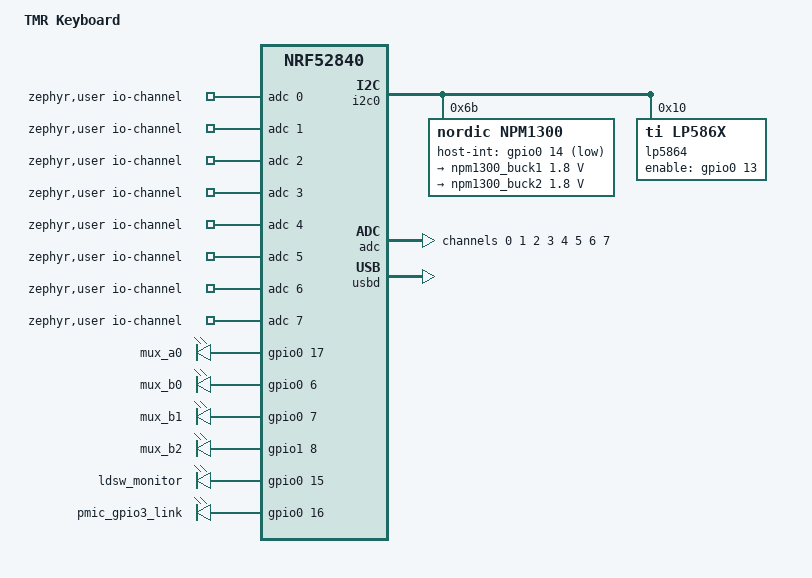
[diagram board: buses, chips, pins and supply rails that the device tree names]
/dts-v1/;

#include <nordic/nrf52840_qiaa.dtsi>
#include <nordic/nrf52840_partition.dtsi>
#include "tmr_kbd_nrf52840-pinctrl.dtsi"
#include <dt-bindings/regulator/npm13xx.h>
/* Include keycode definitions */
#include <zephyr/dt-bindings/input/input-event-codes.h>

/ {
	model = "TMR Keyboard";
	compatible = "gp,tmr-kbd-nrf52840";

	chosen {
		/* Redirect console to Seggar RTT to save pins */
		zephyr,console = &snippet_rtt;
		zephyr,shell-uart = &snippet_rtt;
		zephyr,uart-mcumgr = &snippet_rtt;
	};

	/* Virtual RTT console node */
	snippet_rtt: snippet_rtt {
		compatible = "segger,rtt-uart";
	};
};

/ {
	/* Expose ADC inputs to application */
	zephyr,user {
		io-channels =
			<&adc 0>, /* ADC device, channel 0 */
			<&adc 1>,
			<&adc 2>,
			<&adc 3>,
			<&adc 4>,
			<&adc 5>,
			<&adc 6>,
			<&adc 7>;
	};

	/* This allows ADC to be referred as: DT_ALIAS(adc0), instead of knowing the full path */
	aliases {
		adc0 = &adc;
	};

	/* Define MUX control pins as a new group */
	mux_control {
		compatible = "gpio-leds"; /* generic gpio driver */
		mux_a0: mux_a0 {
			gpios = <&gpio0 17 GPIO_ACTIVE_HIGH>;
		};
		mux_b0: mux_b0 {
			gpios = <&gpio0 6 GPIO_ACTIVE_HIGH>;
		};
		mux_b1: mux_b1 {
			gpios = <&gpio0 7 GPIO_ACTIVE_HIGH>;
		};
		mux_b2: mux_b2 {
			gpios = <&gpio1 8 GPIO_ACTIVE_HIGH>;
		};
	};
};

/* Define the physical GPIO connection for the MUX-style signal if needed */
/ {
	npm_pins {
		compatible = "gpio-leds";
		/* P0.15 is physically wired to the output of LDSW1/GPIO2 */
		ldsw_monitor: ldsw_monitor {
			gpios = <&gpio0 15 GPIO_ACTIVE_HIGH>;
		};
		/* P0.16 is connected to GPIO3 of nPM1300 */
		pmic_gpio3_link: pmic_gpio3_link {
			gpios = <&gpio0 16 GPIO_ACTIVE_HIGH>;
		};
	};
};

/* Configure the I2C0 Bus and Peripherals */
&i2c0 {
	status = "okay";
	pinctrl-0 = <&i2c0_default>;
	pinctrl-1 = <&i2c0_sleep>;
	pinctrl-names = "default", "sleep";
	/* clock-frequency = <I2C_BITRATE_FAST>; */

	/* npm1300: pmic@48 { */
	npm1300: pmic@6b {
		compatible = "nordic,npm1300";
		reg = <0x6b>;
		/* INT (GPIO1) of nPM1300 connected to P0.14 */
		host-int-gpios = <&gpio0 14 GPIO_ACTIVE_LOW>;
		/* host-int-gpios = <&gpio0 14 GPIO_ACTIVE_HIGH>; */
		pmic-int-pin = <1>;

		npm1300_gpio: gpio-controller {
			compatible = "nordic,npm1300-gpio";
			gpio-controller;
			#gpio-cells = <2>;
			ngpios = <5>;
		};

		npm1300_regulators: regulators {
			compatible = "nordic,npm1300-regulator";

			/* Main MCU Power - Stays on, 1.8v*/
			npm1300_buck1: BUCK1 {
				regulator-min-microvolt = <1800000>;
				regulator-max-microvolt = <1800000>;
				regulator-boot-on;
				regulator-always-on;
			};

			/* TMR Sensor Power Source, 1.8v */
			npm1300_buck2: BUCK2 {
				regulator-min-microvolt = <1800000>;
				regulator-max-microvolt = <1800000>;
				regulator-always-on;
				regulator-boot-on;
			};

			/* The Load Switch (LDO1) controlled by GPIO2 */
			npm1300_ldsw1: LDO1 {
				regulator-initial-mode = <NPM13XX_LDSW_MODE_LDSW>;
				regulator-allowed-modes = <NPM13XX_LDSW_MODE_LDSW>;
				/* Link to GPIO2 internally */
				enable-gpio-config = <2 GPIO_ACTIVE_HIGH>;
				regulator-boot-off;
			};

			npm1300_ldsw2: LDO2 {
				status = "disabled";
			};
		};

		npm1300_charger: charger {
			compatible = "nordic,npm1300-charger";
			term-microvolt = <4150000>;     /* 4.15V max charge */
			term-warm-microvolt = <4000000>;
			current-microamp = <150000>;    /* 150mA default */
			dischg-limit-microamp = <1000000>;
			vbus-limit-microamp = <500000>;
			thermistor-ohms = <10000>;      /* Enabled NTC */
			thermistor-beta = <3380>;
			charging-enable;
		};
	};

	/* LED IC */
	lp5864: lp5864@10 {
		/* compatible = "i2c-device"; */
		compatible = "ti,lp586x"; /* Hypothetical binding name */
		reg = <0x10>;
		/* EN pin connected to P0.13 */
		enable-gpios = <&gpio0 13 GPIO_ACTIVE_HIGH>;
	};
};

/* Enable ADC for your TMR sensors */
&adc {
	#address-cells = <1>;
	#size-cells = <0>;
	status = "okay";

	channel@0 {
		reg = <0>;
		zephyr,gain = "ADC_GAIN_1";
		zephyr,reference = "ADC_REF_INTERNAL"; /* 0.6V internal ref */
		zephyr,acquisition-time = <ADC_ACQ_TIME_DEFAULT>;
		zephyr,input-positive = <NRF_SAADC_AIN0>; /* P0.02 */
		zephyr,resolution = <12>;
		/* optional oversampling: take 4 samples and average them (less noise, but adc stays on longer) */
		/* zephyr,oversampling = <4>; */
	};

	channel@1 {
		reg = <1>;
		zephyr,gain = "ADC_GAIN_1";
		zephyr,reference = "ADC_REF_INTERNAL";
		zephyr,acquisition-time = <ADC_ACQ_TIME_DEFAULT>;
		zephyr,input-positive = <NRF_SAADC_AIN1>; /* P0.03 */
		zephyr,resolution = <12>;
	};

	channel@2 {
		reg = <2>;
		zephyr,gain = "ADC_GAIN_1";
		zephyr,reference = "ADC_REF_INTERNAL";
		zephyr,acquisition-time = <ADC_ACQ_TIME_DEFAULT>;
		zephyr,input-positive = <NRF_SAADC_AIN2>; /* P0.04 */
		zephyr,resolution = <12>;
	};

	channel@3 {
		reg = <3>;
		zephyr,gain = "ADC_GAIN_1";
		zephyr,reference = "ADC_REF_INTERNAL";
		zephyr,acquisition-time = <ADC_ACQ_TIME_DEFAULT>;
		zephyr,input-positive = <NRF_SAADC_AIN3>; /* P0.05 */
		zephyr,resolution = <12>;
	};

	channel@4 {
		reg = <4>;
		zephyr,gain = "ADC_GAIN_1";
		zephyr,reference = "ADC_REF_INTERNAL";
		zephyr,acquisition-time = <ADC_ACQ_TIME_DEFAULT>;
		zephyr,input-positive = <NRF_SAADC_AIN4>; /* P0.28 */
		zephyr,resolution = <12>;
	};

	channel@5 {
		reg = <5>;
		zephyr,gain = "ADC_GAIN_1";
		zephyr,reference = "ADC_REF_INTERNAL";
		zephyr,acquisition-time = <ADC_ACQ_TIME_DEFAULT>;
		zephyr,input-positive = <NRF_SAADC_AIN5>; /* P0.29 */
		zephyr,resolution = <12>;
	};

	channel@6 {
		reg = <6>;
		zephyr,gain = "ADC_GAIN_1";
		zephyr,reference = "ADC_REF_INTERNAL";
		zephyr,acquisition-time = <ADC_ACQ_TIME_DEFAULT>;
		zephyr,input-positive = <NRF_SAADC_AIN6>; /* P0.30 */
		zephyr,resolution = <12>;
	};

	channel@7 {
		reg = <7>;
		zephyr,gain = "ADC_GAIN_1";
		zephyr,reference = "ADC_REF_INTERNAL";
		zephyr,acquisition-time = <ADC_ACQ_TIME_DEFAULT>;
		zephyr,input-positive = <NRF_SAADC_AIN7>; /* P0.31 */
		zephyr,resolution = <12>;
	};
};

/* Enable GPIO Ports */
&gpio0 {
	status = "okay";
};

&gpio1 {
	status = "okay";
};

/* Disable everything you aren't using to save power/resources */
&uart0 { status = "disabled"; };
&uart1 { status = "disabled"; };
&i2c1 { status = "disabled"; };
&spi0 { status = "disabled"; };
&spi1 { status = "disabled"; };
&spi2 { status = "disabled"; };
&pwm0 { status = "disabled"; };
&qspi { status = "disabled"; };

/* Keep USB enabled for the keyboard connection */
zephyr_udc0: &usbd {
	status = "okay";
};
